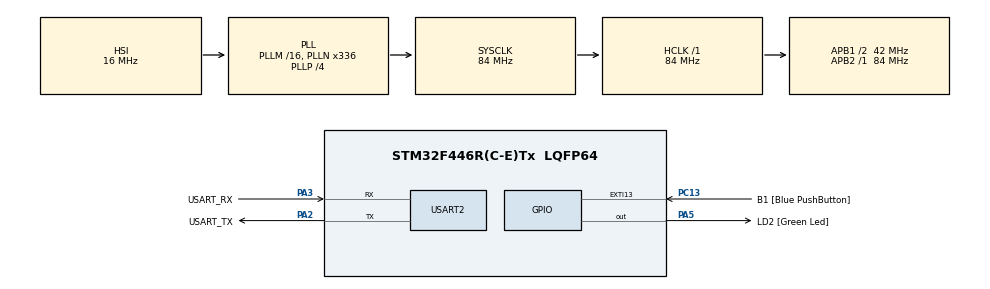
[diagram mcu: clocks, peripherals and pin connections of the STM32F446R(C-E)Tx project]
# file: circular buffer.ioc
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Mcu.Family=STM32F4
Mcu.Name=STM32F446R(C-E)Tx
Mcu.Package=LQFP64
NVIC.PriorityGroup=NVIC_PRIORITYGROUP_0
PA13.GPIO_Label=TMS
PA13.Mode=Serial_Wire
PA13.Signal=SYS_JTMS-SWDIO
PA14.GPIO_Label=TCK
PA14.Mode=Serial_Wire
PA14.Signal=SYS_JTCK-SWCLK
PA2.GPIO_Label=USART_TX
PA2.Mode=Asynchronous
PA2.Signal=USART2_TX
PA3.GPIO_Label=USART_RX
PA3.Mode=Asynchronous
PA3.Signal=USART2_RX
PA5.GPIO_Label=LD2 [Green Led]
PA5.Signal=GPIO_Output
PB3.GPIO_Label=SWO
PB3.Signal=SYS_JTDO-SWO
PC13.GPIO_Label=B1 [Blue PushButton]
PC13.GPIO_ModeDefaultEXTI=GPIO_MODE_IT_FALLING
PC13.Signal=GPXTI13
PC14-OSC32_IN.Mode=LSE-External-Oscillator
PC14-OSC32_IN.Signal=RCC_OSC32_IN
PC15-OSC32_OUT.Mode=LSE-External-Oscillator
PC15-OSC32_OUT.Signal=RCC_OSC32_OUT
PH0-OSC_IN.Mode=HSE-External-Oscillator
PH0-OSC_IN.Signal=RCC_OSC_IN
PH1-OSC_OUT.Mode=HSE-External-Oscillator
PH1-OSC_OUT.Signal=RCC_OSC_OUT
ProjectManager.HeapSize=0x200
ProjectManager.StackSize=0x400
ProjectManager.TargetToolchain=STM32CubeIDE
RCC.48MHZClocksFreq_Value=84000000
RCC.AHBFreq_Value=84000000
RCC.APB1CLKDivider=RCC_HCLK_DIV2
RCC.APB1Freq_Value=42000000
RCC.APB1TimFreq_Value=84000000
RCC.APB2Freq_Value=84000000
RCC.APB2TimFreq_Value=84000000
RCC.CortexFreq_Value=84000000
RCC.FLatency-AdvancedSettings=FLASH_LATENCY_2
RCC.HCLKFreq_Value=84000000
RCC.HSE_VALUE=8000000
RCC.HSI_VALUE=16000000
RCC.PLLN=336
RCC.PLLP=RCC_PLLP_DIV4
RCC.SYSCLKFreq_VALUE=84000000
RCC.SYSCLKSource=RCC_SYSCLKSOURCE_PLLCLK
RCC.USBFreq_Value=168000000
RCC.VCOOutputFreq_Value=336000000
USART2.VirtualMode=VM_ASYNC
board=NUCLEO-F446RE

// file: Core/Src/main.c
/* USER CODE BEGIN Header */
/**
  ******************************************************************************
  * @file           : main.c
  * @brief          : Main program body
  ******************************************************************************
  * @attention
  *
  * Copyright (c) 2024 STMicroelectronics.
  * All rights reserved.
  *
  * This software is licensed under terms that can be found in the LICENSE file
  * in the root directory of this software component.
  * If no LICENSE file comes with this software, it is provided AS-IS.
  *
  ******************************************************************************
  */
/* USER CODE END Header */
#include "main.h"

UART_HandleTypeDef huart2;

void SystemClock_Config(void);
static void MX_GPIO_Init(void);
static void MX_USART2_UART_Init(void);

/* USER CODE BEGIN 0 */
int buffer[100];
uint8_t head=0;
uint8_t tail = 0;
uint8_t flag = 0;
char *s;
void write(int data){
	buffer[head%100] = data;
	head = head +1;
	flag =1 ; // to check the empty buffer;
}

int read(){
	int data;
	if (flag!=1){
		s  = "Buffer is empty";
		HAL_UART_Transmit(&huart2, s, strlen(s), 10);
	}

	 data =  buffer[tail%100];
	tail = tail +1;
	return data;

}
void average(uint8_t n,float *Ave){
	for(uint8_t i=0;i<n;i++){
    *Ave = *Ave+read();
}
}
/* USER CODE END 0 */

int main(void)
{
	int c;
	float avg,avg1;

	char s1[30];
  /* USER CODE BEGIN 1 */
for(int i=0;i<100;i++){

	write(i);
}

/* USER CODE END 1 */

  /* MCU Configuration--------------------------------------------------------*/

  /* Reset of all peripherals, Initializes the Flash interface and the Systick. */
  HAL_Init();

  /* Configure the system clock */
  SystemClock_Config();

  /* Initialize all configured peripherals */
  MX_GPIO_Init();
  MX_USART2_UART_Init();

  /* Infinite loop */
  /* USER CODE BEGIN WHILE */
  average(100,&avg);
  for (int i=0;i<10;i++){
	  write(i);
  }
  average (100,&avg1);

  sprintf(s1,"%.3f,%.3f\r\n",avg/100,avg1/100);
  HAL_UART_Transmit(&huart2, s1, strlen(s1), 10);

  /* USER CODE END 3 */
}

void SystemClock_Config(void)
{
  RCC_OscInitTypeDef RCC_OscInitStruct = {0};
  RCC_ClkInitTypeDef RCC_ClkInitStruct = {0};

  /** Configure the main internal regulator output voltage
  */
  __HAL_RCC_PWR_CLK_ENABLE();
  __HAL_PWR_VOLTAGESCALING_CONFIG(PWR_REGULATOR_VOLTAGE_SCALE3);

  /** Initializes the RCC Oscillators according to the specified parameters
  * in the RCC_OscInitTypeDef structure.
  */
  RCC_OscInitStruct.OscillatorType = RCC_OSCILLATORTYPE_HSI;
  RCC_OscInitStruct.HSIState = RCC_HSI_ON;
  RCC_OscInitStruct.HSICalibrationValue = RCC_HSICALIBRATION_DEFAULT;
  RCC_OscInitStruct.PLL.PLLState = RCC_PLL_ON;
  RCC_OscInitStruct.PLL.PLLSource = RCC_PLLSOURCE_HSI;
  RCC_OscInitStruct.PLL.PLLM = 16;
  RCC_OscInitStruct.PLL.PLLN = 336;
  RCC_OscInitStruct.PLL.PLLP = RCC_PLLP_DIV4;
  RCC_OscInitStruct.PLL.PLLQ = 2;
  RCC_OscInitStruct.PLL.PLLR = 2;
  if (HAL_RCC_OscConfig(&RCC_OscInitStruct) != HAL_OK)
  {
    Error_Handler();
  }

  /** Initializes the CPU, AHB and APB buses clocks
  */
  RCC_ClkInitStruct.ClockType = RCC_CLOCKTYPE_HCLK|RCC_CLOCKTYPE_SYSCLK
                              |RCC_CLOCKTYPE_PCLK1|RCC_CLOCKTYPE_PCLK2;
  RCC_ClkInitStruct.SYSCLKSource = RCC_SYSCLKSOURCE_PLLCLK;
  RCC_ClkInitStruct.AHBCLKDivider = RCC_SYSCLK_DIV1;
  RCC_ClkInitStruct.APB1CLKDivider = RCC_HCLK_DIV2;
  RCC_ClkInitStruct.APB2CLKDivider = RCC_HCLK_DIV1;

  if (HAL_RCC_ClockConfig(&RCC_ClkInitStruct, FLASH_LATENCY_2) != HAL_OK)
  {
    Error_Handler();
  }
}

static void MX_USART2_UART_Init(void)
{

  huart2.Instance = USART2;
  huart2.Init.BaudRate = 9600;
  huart2.Init.WordLength = UART_WORDLENGTH_8B;
  huart2.Init.StopBits = UART_STOPBITS_1;
  huart2.Init.Parity = UART_PARITY_NONE;
  huart2.Init.Mode = UART_MODE_TX_RX;
  huart2.Init.HwFlowCtl = UART_HWCONTROL_NONE;
  huart2.Init.OverSampling = UART_OVERSAMPLING_16;
  if (HAL_UART_Init(&huart2) != HAL_OK)
  {
    Error_Handler();
  }

}

static void MX_GPIO_Init(void)
{
  GPIO_InitTypeDef GPIO_InitStruct = {0};

  /* GPIO Ports Clock Enable */
  __HAL_RCC_GPIOC_CLK_ENABLE();
  __HAL_RCC_GPIOH_CLK_ENABLE();
  __HAL_RCC_GPIOA_CLK_ENABLE();
  __HAL_RCC_GPIOB_CLK_ENABLE();

  /*Configure GPIO pin Output Level */
  HAL_GPIO_WritePin(LD2_GPIO_Port, LD2_Pin, GPIO_PIN_RESET);

  /*Configure GPIO pin : B1_Pin */
  GPIO_InitStruct.Pin = B1_Pin;
  GPIO_InitStruct.Mode = GPIO_MODE_IT_FALLING;
  GPIO_InitStruct.Pull = GPIO_NOPULL;
  HAL_GPIO_Init(B1_GPIO_Port, &GPIO_InitStruct);

  /*Configure GPIO pin : LD2_Pin */
  GPIO_InitStruct.Pin = LD2_Pin;
  GPIO_InitStruct.Mode = GPIO_MODE_OUTPUT_PP;
  GPIO_InitStruct.Pull = GPIO_NOPULL;
  GPIO_InitStruct.Speed = GPIO_SPEED_FREQ_LOW;
  HAL_GPIO_Init(LD2_GPIO_Port, &GPIO_InitStruct);

}

void Error_Handler(void)
{
  __disable_irq();
  while (1)
  {
  }
}
